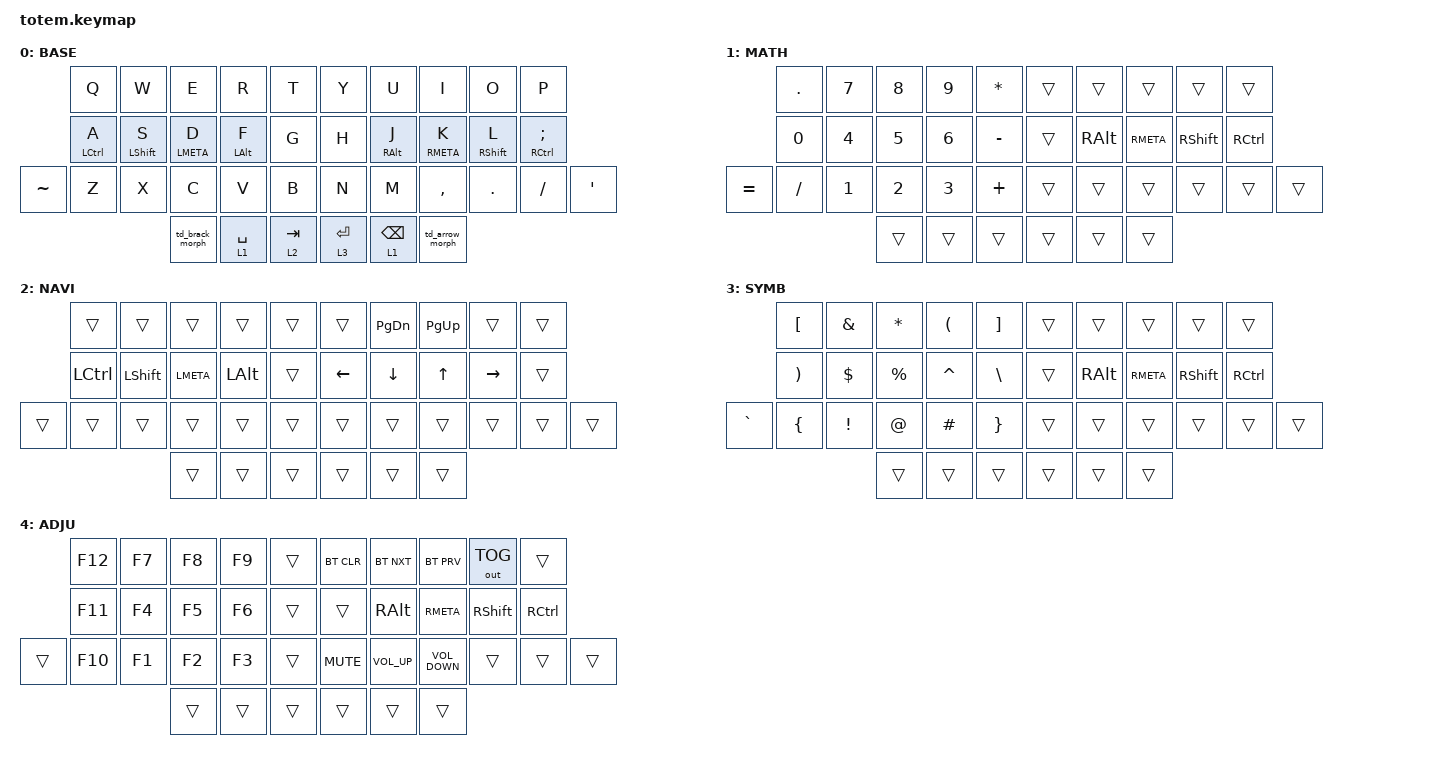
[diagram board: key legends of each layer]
//
//                                                        ▀▀▀▀▀     ▀▀▀▀▀          ▀▀█▀▀
//                                                        ▄▀▀▀▄  ▄  ▄▀▀▀▄  ▄  ▄▀▀▀▄  █  ▄▀▀▀▄
//                                                        █   █  █  █   █  █  █   █  █  █   █
//                                                         ▀▀▀   █   ▀▀▀   █   ▀▀▀   ▀   ▀▀▀
//                                                               █      ▄▄▄█▄▄▄    █   █  
//                                                               ▀      █  █  █     █▄█
//                                                             ▀▀▀▀▀    █  █  █      ▀
//                                                                      ▀  ▀  ▀
//
// ▄▄▄▄▄▄▄▄▄▄▄▄▄▄▄▄▄▄▄▄▄▄▄▄▄▄▄▄▄▄▄▄▄▄▄▄▄▄▄▄▄▄▄▄▄▄▄▄▄▄▄▄▄▄▄▄▄▄▄▄▄▄▄▄▄▄▄▄▄▄▄▄▄▄▄▄▄▄▄▄▄▄▄▄▄▄▄▄▄▄▄▄▄▄▄▄▄▄▄▄▄▄▄▄▄▄▄▄▄▄▄▄▄▄▄▄▄▄▄▄▄▄▄▄▄▄▄▄▄▄▄▄▄▄▄▄▄▄▄▄▄▄▄▄▄▄▄▄▄

#define BASE 0
#define MATH 1
#define SYMB 2
#define ADJU  3

#include <behaviors.dtsi>
#include <dt-bindings/zmk/bt.h>
#include <dt-bindings/zmk/keys.h>
#include <dt-bindings/zmk/outputs.h>

/ {
    combos {
        compatible = "zmk,combos";

        escape {
            bindings = <&kp ESC>;
            key-positions = <11 12 13>;
        };

        copy {
            bindings = <&kp LC(C)>;
            key-positions = <16 17>;
        };

        paste {
            bindings = <&kp LC(V)>;
            key-positions = <17 18>;
        };

        equal {
            bindings = <&kp EQUAL>;
            key-positions = <34 35>;
        };
    };

    behaviors {
        td_brack_open: td_brack_open {
            compatible = "zmk,behavior-tap-dance";
            label = "TD_BRACK_OPEN";
            #binding-cells = <0>;
            tapping-term-ms = <200>;
            bindings = <&kp LPAR>, <&kp LBRC>;
        };

        hold_tap: hold_tap {
            compatible = "zmk,behavior-hold-tap";
            #binding-cells = <2>;
            flavor = "tap-preferred";
            tapping-term-ms = <200>;
            quick-tap-ms = <200>;
            require-prior-idle-ms = <125>;
            bindings = <&kp>, <&kp>;

            label = "HOLD_TAP";
        };

        td_brack_close: td_brack_close {
            compatible = "zmk,behavior-tap-dance";
            label = "TD_BRACK_CLOSE";
            #binding-cells = <0>;
            tapping-term-ms = <200>;
            bindings = <&kp RIGHT_PARENTHESIS>, <&kp RIGHT_BRACE>;
        };

        td_brack_morph: td_brack_morph {
            compatible = "zmk,behavior-mod-morph";
            label = "TD_BRACK_MORPH";
            bindings = <&td_brack_open>, <&td_brack_close>;

            #binding-cells = <0>;
            mods = <(MOD_LSFT|MOD_RSFT)>;
        };

        td_arrow_open: td_arrow_open {
            compatible = "zmk,behavior-tap-dance";
            label = "TD_ARROW_OPEN";
            #binding-cells = <0>;
            bindings = <&kp LESS_THAN>, <&kp LEFT_BRACKET>;
        };

        td_arrow_close: td_arrow_close {
            compatible = "zmk,behavior-tap-dance";
            label = "TD_ARROW_CLOSE";
            #binding-cells = <0>;
            bindings = <&kp GT>, <&kp RIGHT_BRACKET>;
        };

        td_arrow_morph: td_arrow_morph {
            compatible = "zmk,behavior-mod-morph";
            label = "TD_ARROW_MORPH";
            bindings = <&td_arrow_open>, <&td_arrow_close>;

            #binding-cells = <0>;
            mods = <(MOD_LSFT|MOD_RSFT)>;
        };
    };

    keymap {
        compatible = "zmk,keymap";

        base {
            label = "BASE";
            bindings = <
           &kp Q              &kp W              &kp E              &kp R             &kp T        &kp Y        &kp U             &kp I              &kp O              &kp P
           &hold_tap LCTRL A  &hold_tap LSHFT S  &hold_tap LMETA D  &hold_tap LALT F  &kp G        &kp H        &hold_tap RALT J  &hold_tap RMETA K  &hold_tap RSHFT L  &hold_tap RCTRL SEMICOLON
&kp TILDE  &kp Z              &kp X              &kp C              &kp V             &kp B        &kp N        &kp M             &kp COMMA          &kp DOT            &kp FSLH                   &kp SQT
                                                 &td_brack_morph    &lt 1 SPACE       &lt 2 TAB    &lt 3 ENTER  &lt 1 BACKSPACE   &td_arrow_morph
            >;
        };

        math {
            label = "MATH";
            bindings = <
           &kp DOT    &kp N7        &kp N8        &kp N9        &kp ASTERISK    &trans  &trans    &trans     &trans     &trans
           &kp N0     &kp NUMBER_4  &kp N5        &kp N6        &kp MINUS       &trans  &kp RALT  &kp RMETA  &kp RSHFT  &kp RCTRL
&kp EQUAL  &kp SLASH  &kp NUMBER_1  &kp NUMBER_2  &kp NUMBER_3  &kp PLUS        &trans  &trans    &trans     &trans     &trans     &trans
                                    &trans        &trans        &trans          &trans  &trans    &trans
            >;
        };

        navi {
            bindings = <
        &trans     &trans     &trans     &trans    &trans    &trans    &kp PAGE_DOWN  &kp PG_UP  &trans     &trans
        &kp LCTRL  &kp LSHFT  &kp LMETA  &kp LALT  &trans    &kp LEFT  &kp DOWN       &kp UP     &kp RIGHT  &trans
&trans  &trans     &trans     &trans     &trans    &trans    &trans    &trans         &trans     &trans     &trans  &trans
                              &trans     &trans    &trans    &trans    &trans         &trans
            >;

            label = "NAVI";
        };

        symb {
            label = "SYMB";
            bindings = <
           &kp LEFT_BRACKET       &kp AMPERSAND    &kp ASTRK    &kp LPAR   &kp RIGHT_BRACKET    &trans  &trans    &trans     &trans     &trans
           &kp RIGHT_PARENTHESIS  &kp DOLLAR       &kp PERCENT  &kp CARET  &kp BACKSLASH        &trans  &kp RALT  &kp RMETA  &kp RSHFT  &kp RCTRL
&kp GRAVE  &kp LEFT_BRACE         &kp EXCLAMATION  &kp AT_SIGN  &kp HASH   &kp RIGHT_BRACE      &trans  &trans    &trans     &trans     &trans     &trans
                                                   &trans       &trans     &trans               &trans  &trans    &trans
            >;
        };

        func {
            label = "ADJU";
            bindings = <
        &kp F12  &kp F7  &kp F8  &kp F9  &trans    &bt BT_CLR  &bt BT_NXT       &bt BT_PRV         &out OUT_TOG  &trans
        &kp F11  &kp F4  &kp F5  &kp F6  &trans    &trans      &kp RALT         &kp RMETA          &kp RSHFT     &kp RCTRL
&trans  &kp F10  &kp F1  &kp F2  &kp F3  &trans    &kp K_MUTE  &kp C_VOLUME_UP  &kp C_VOLUME_DOWN  &trans        &trans     &trans
                         &trans  &trans  &trans    &trans      &trans           &trans
            >;
        };
    };
};
